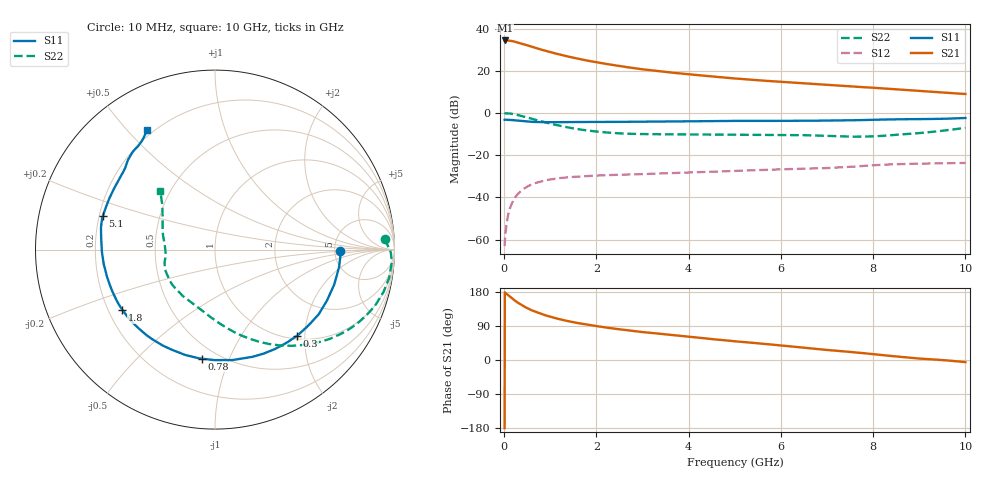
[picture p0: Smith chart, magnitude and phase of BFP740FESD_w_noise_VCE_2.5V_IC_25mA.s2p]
! Infineon Technologies  Discrete & RF Semiconductors
! BFP740FESD
! VCE =  2.5 V,  IC =  25 mA
! Common Emitter S-Parameters:  Jan 2016
# GHz  S  MA  R  50
!  f  S11  S21  S12  S22
! GHz  MAG  ANG  MAG  ANG  MAG  ANG  MAG  ANG
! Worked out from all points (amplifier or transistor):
!   233 points, 10 MHz to 10 GHz, reference 50 ohm
!   highest |S21| = 34.4 dB at 20 MHz (marker M1)
!   |S21| within 3 dB of that: start of sweep to 601.5 MHz
!   unconditionally stable (mu >= 1): 5.419 GHz to end of sweep
!   at 200 MHz: K = 0.10, MSG = 37.7 dB, |S12| = -41.4 dB
!   at 1.74 GHz: K = 0.50, MSG = 27.5 dB, |S12| = -29.9 dB
!   at 10 GHz: K = 1.16, MAG = 13.9 dB, |S12| = -23.6 dB
!   lowest NFmin = 0.89 dB at 450 MHz
!   S11 on the Smith chart (normalised r, x): 10 MHz: 5.53, -0.16; 300 MHz: 1.07, -1.83; 780 MHz: 0.41, -0.80; 1.8 GHz: 0.26, -0.28; 5.1 GHz: 0.21, +0.14; 10 GHz: 0.18, +0.57
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0.01  0.694 -0.6  52.62 -179.9  0.0007 107.8  0.9486 3.5
0.02  0.6994 -3.3  52.66 177.8  0.0011 97.7  0.9799 -1.0
0.1  0.692 -16.4  52.35 169.9  0.0045 81.7  0.9831 -9.2
0.15  0.6855 -24.4  51.45 164.7  0.0065 79.2  0.9682 -14.1
0.24  0.6719 -37.7  48.87 156.1  0.0101 72.6  0.9281 -22.0
0.3  0.6632 -46.3  47.07 151.0  0.0122 69.1  0.8966 -26.9
0.4  0.6465 -59.1  43.69 143.5  0.0153 63.7  0.8407 -34.2
0.5  0.6329 -70.7  40.38 136.9  0.0181 59.1  0.785 -40.7
0.6  0.6231 -81.0  37.33 131.0  0.0204 54.9  0.7321 -46.4
0.78  0.612 -96.8  32.53 122.7  0.0237 49.1  0.6486 -55.4
1  0.608 -112.5  27.87 114.1  0.0267 43.4  0.5639 -65.0
1.2  0.6095 -123.8  24.49 107.6  0.0287 39.5  0.5024 -72.7
1.4  0.6111 -133.1  21.7 102.1  0.0301 36.6  0.4532 -79.6
1.68  0.6142 -143.3  18.69 95.7  0.0317 33.6  0.4034 -88.0
1.8  0.616 -146.8  17.56 93.2  0.0322 32.7  0.3872 -91.3
2.2  0.6176 -157.2  14.69 85.8  0.0336 30.4  0.3482 -101.5
2.58  0.6203 -165.4  12.65 79.6  0.0347 29.1  0.3274 -110.3
3.4  0.6287 -177.9  9.693 68.9  0.0369 28.6  0.3152 -123.0
5.1  0.6525 163.5  6.484 48.4  0.0429 29.3  0.3073 -141.5
6.8  0.6608 145.2  4.815 28.9  0.0491 29.1  0.2926 -163.4
8.4  0.7086 131.0  3.724 10.5  0.0609 27.2  0.2993 165.1
10  0.7644 119.7  2.839 -5.5  0.0658 19.8  0.4454 133.1
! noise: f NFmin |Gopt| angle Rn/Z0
0.45  0.89  0.09  -166  0.08
2.4  0.91  0.13  -166  0.09
5.5  1.07  0.18  -165  0.08
10  1.57  0.39  -118  0.19
